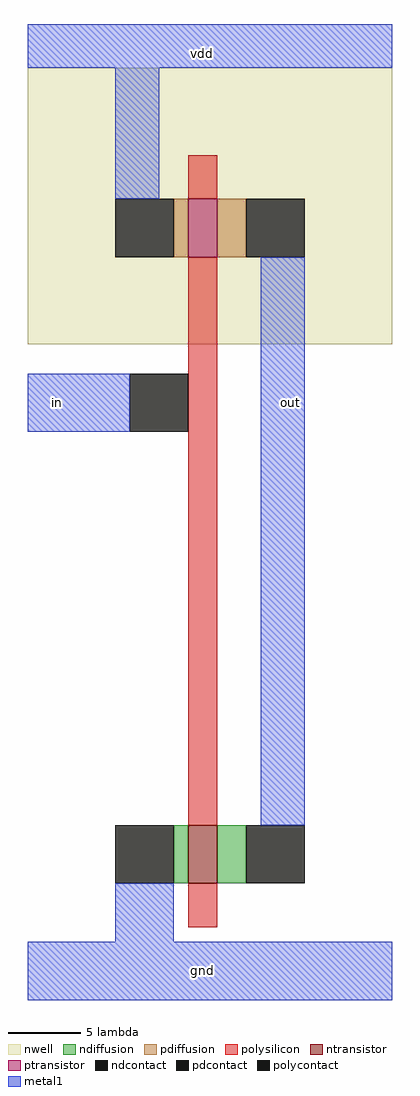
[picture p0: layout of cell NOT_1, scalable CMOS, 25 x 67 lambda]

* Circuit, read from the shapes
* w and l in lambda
.subckt NOT_1 gnd in out vdd
M1 out in gnd VSUBS nfet w=4 l=2
M2 out in vdd n1 pfet w=4 l=2
.ends

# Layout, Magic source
magic
tech scmos
<< nwell >>
rect -36 43 -11 62
<< ntransistor >>
rect -25 6 -23 10
<< ptransistor >>
rect -25 49 -23 53
<< ndiffusion >>
rect -26 6 -25 10
rect -23 6 -21 10
<< pdiffusion >>
rect -26 49 -25 53
rect -23 49 -21 53
<< ndcontact >>
rect -30 6 -26 10
rect -21 6 -17 10
<< pdcontact >>
rect -30 49 -26 53
rect -21 49 -17 53
<< polysilicon >>
rect -25 53 -23 56
rect -25 10 -23 49
rect -25 3 -23 6
<< polycontact >>
rect -29 37 -25 41
<< metal1 >>
rect -36 62 -11 65
rect -30 53 -27 62
rect -36 37 -29 41
rect -20 10 -17 49
rect -30 2 -26 6
rect -36 -2 -11 2
<< labels >>
rlabel metal1 -24 63 -24 63 5 vdd
rlabel metal1 -24 0 -24 0 1 gnd
rlabel metal1 -34 39 -34 39 3 in
rlabel metal1 -18 39 -18 39 1 out
<< end >>
